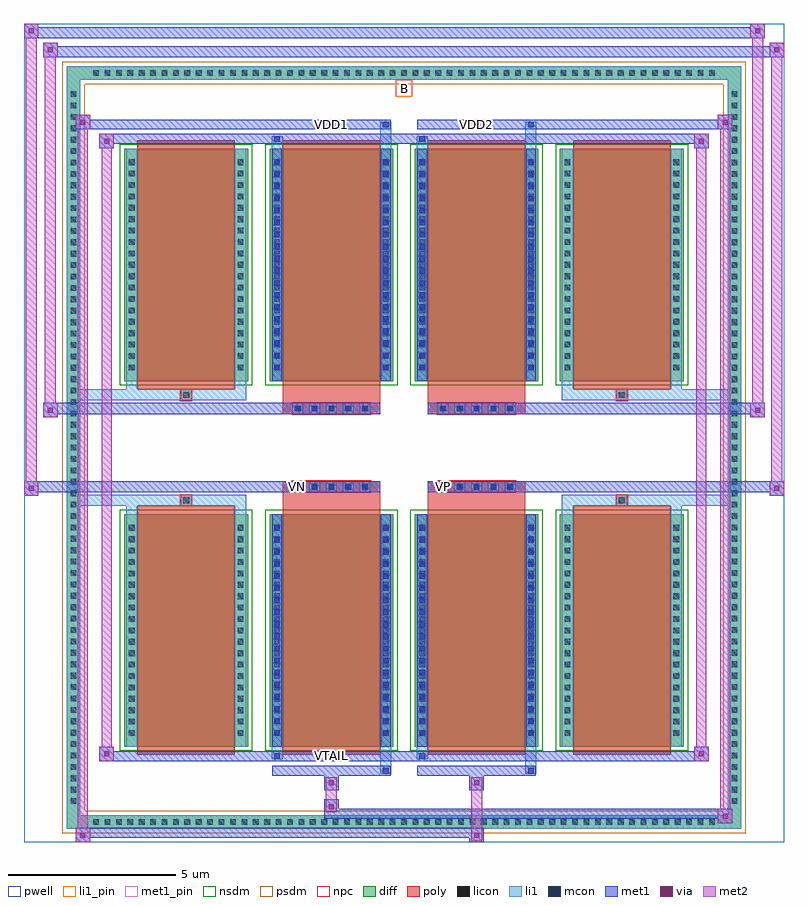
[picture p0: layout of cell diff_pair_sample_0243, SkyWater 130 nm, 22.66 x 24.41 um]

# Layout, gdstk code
import gdstk
lib = gdstk.Library(unit=1e-6, precision=5e-09)
def R(c, l, rs):  # rectangles x0, y0, x1, y1
    for r in rs: c.add(gdstk.rectangle(r[:2], r[2:], *l))
def A(c, l, x, y, w, h, nx, ny, dx, dy):  # array of equal rectangles
    R(c, l, [(x+i*dx, y+j*dy, x+i*dx+w, y+j*dy+h) for i in range(nx) for j in range(ny)])
def P(c, l, *ps):  # polygons
    for p in ps: c.add(gdstk.Polygon(p, *l))
pwell = (64, 44)
diff = (65, 20)
poly = (66, 20)
licon = (66, 44)
li1_pin = (67, 16)
li1 = (67, 20)
mcon = (67, 44)
met1_pin = (68, 16)
met1 = (68, 20)
via = (68, 44)
met2 = (69, 20)
nsdm = (93, 44)
psdm = (94, 20)
npc = (95, 20)

diff_pair_sample_0243 = lib.new_cell('diff_pair_sample_0243')
R(diff_pair_sample_0243, pwell, [(-11.33,-11.77,11.33,12.64), (-8.65,-9.96,-0.01,-0.8), (0.01,-9.96,8.65,-0.8), (-8.65,0.8,-0.01,9.96), (0.01,0.8,8.65,9.96)])
A(diff_pair_sample_0243, diff, -9.385, -11.37, 0.41, 0.41, 55, 2, 0.34, 22.33)
A(diff_pair_sample_0243, diff, -10.06, -10.745, 0.41, 0.41, 1, 63, 0, 0.34)
A(diff_pair_sample_0243, diff, 9.65, -10.745, 0.41, 0.41, 1, 63, 0, 0.34)
A(diff_pair_sample_0243, diff, -8.34, -8.915, 3.69, 6.93, 4, 2, 4.33, 10.9)
R(diff_pair_sample_0243, diff, [(-9.385,-11.37,9.385,-10.96), (-10.06,-10.745,-9.65,10.745), (9.65,-10.745,10.06,10.745), (-9.385,10.96,9.385,11.37)])
P(diff_pair_sample_0243, diff, [(10.06,11.37),(-10.06,11.37),(-10.06,-10.96),(-9.65,-10.96),(-9.65,10.96),(9.65,10.96),(9.65,-10.96),(-9.65,-10.96),(-10.06,-10.96),(-10.06,-11.37),(10.06,-11.37)])
A(diff_pair_sample_0243, poly, -7.95, -9.165, 2.91, 7.43, 4, 2, 4.33, 10.9)
A(diff_pair_sample_0243, poly, -3.33, -1.33, 0.33, 0.33, 5, 2, 0.5, 2.33)
A(diff_pair_sample_0243, poly, 1, -1.33, 0.33, 0.33, 5, 2, 0.5, 2.33)
R(diff_pair_sample_0243, poly, [(-6.66,-1.735,-6.33,-1.405), (-6.66,-1.735,-6.33,-1.405), (-3.62,-1.735,-0.71,-1.33), (0.71,-1.735,3.62,-1.33), (6.33,-1.735,6.66,-1.405), (6.33,-1.735,6.66,-1.405), (-3.62,-1.33,-0.71,-1), (0.71,-1.33,3.62,-1), (-3.62,1,-0.71,1.33), (0.71,1,3.62,1.33), (-3.62,1.33,-0.71,1.735), (0.71,1.33,3.62,1.735), (-6.66,1.405,-6.33,1.735), (-6.66,1.405,-6.33,1.735), (6.33,1.405,6.66,1.735), (6.33,1.405,6.66,1.735)])
A(diff_pair_sample_0243, licon, -9.265, -11.25, 0.17, 0.17, 55, 2, 0.34, 22.33)
A(diff_pair_sample_0243, licon, -9.94, -10.625, 0.17, 0.17, 1, 63, 0, 0.34)
A(diff_pair_sample_0243, licon, 9.77, -10.625, 0.17, 0.17, 1, 63, 0, 0.34)
A(diff_pair_sample_0243, licon, -8.2, -8.595, 0.17, 0.17, 1, 19, 0, 0.34)
A(diff_pair_sample_0243, licon, -4.96, -8.595, 0.17, 0.17, 1, 19, 0, 0.34)
A(diff_pair_sample_0243, licon, -3.87, -8.595, 0.17, 0.17, 1, 19, 0, 0.34)
A(diff_pair_sample_0243, licon, -0.63, -8.595, 0.17, 0.17, 1, 19, 0, 0.34)
A(diff_pair_sample_0243, licon, 0.46, -8.595, 0.17, 0.17, 1, 19, 0, 0.34)
A(diff_pair_sample_0243, licon, 3.7, -8.595, 0.17, 0.17, 1, 19, 0, 0.34)
A(diff_pair_sample_0243, licon, 4.79, -8.595, 0.17, 0.17, 1, 19, 0, 0.34)
A(diff_pair_sample_0243, licon, 8.03, -8.595, 0.17, 0.17, 1, 19, 0, 0.34)
A(diff_pair_sample_0243, licon, -3.25, -1.25, 0.17, 0.17, 5, 2, 0.5, 2.33)
A(diff_pair_sample_0243, licon, 1.08, -1.25, 0.17, 0.17, 5, 2, 0.5, 2.33)
A(diff_pair_sample_0243, licon, -8.2, 2.305, 0.17, 0.17, 1, 19, 0, 0.34)
A(diff_pair_sample_0243, licon, -4.96, 2.305, 0.17, 0.17, 1, 19, 0, 0.34)
A(diff_pair_sample_0243, licon, -3.87, 2.305, 0.17, 0.17, 1, 19, 0, 0.34)
A(diff_pair_sample_0243, licon, -0.63, 2.305, 0.17, 0.17, 1, 19, 0, 0.34)
A(diff_pair_sample_0243, licon, 0.46, 2.305, 0.17, 0.17, 1, 19, 0, 0.34)
A(diff_pair_sample_0243, licon, 3.7, 2.305, 0.17, 0.17, 1, 19, 0, 0.34)
A(diff_pair_sample_0243, licon, 4.79, 2.305, 0.17, 0.17, 1, 19, 0, 0.34)
A(diff_pair_sample_0243, licon, 8.03, 2.305, 0.17, 0.17, 1, 19, 0, 0.34)
R(diff_pair_sample_0243, licon, [(-6.58,-1.655,-6.41,-1.485), (6.41,-1.655,6.58,-1.485), (-6.58,1.485,-6.41,1.655), (6.41,1.485,6.58,1.655)])
R(diff_pair_sample_0243, li1_pin, [(-0.25,10.46,0.25,10.96)])
A(diff_pair_sample_0243, li1, -9.345, -11.33, 0.33, 0.33, 55, 2, 0.34, 22.33)
A(diff_pair_sample_0243, li1, -10.02, -10.705, 0.33, 0.33, 1, 63, 0, 0.34)
A(diff_pair_sample_0243, li1, 9.69, -10.705, 0.33, 0.33, 1, 63, 0, 0.34)
A(diff_pair_sample_0243, li1, -8.28, -8.675, 0.33, 0.33, 1, 19, 0, 0.34)
A(diff_pair_sample_0243, li1, -5.04, -8.675, 0.33, 0.33, 1, 19, 0, 0.34)
A(diff_pair_sample_0243, li1, -3.95, -8.675, 0.33, 0.33, 1, 19, 0, 0.34)
A(diff_pair_sample_0243, li1, -0.71, -8.675, 0.33, 0.33, 1, 19, 0, 0.34)
A(diff_pair_sample_0243, li1, 0.38, -8.675, 0.33, 0.33, 1, 19, 0, 0.34)
A(diff_pair_sample_0243, li1, 3.62, -8.675, 0.33, 0.33, 1, 19, 0, 0.34)
A(diff_pair_sample_0243, li1, 4.71, -8.675, 0.33, 0.33, 1, 19, 0, 0.34)
A(diff_pair_sample_0243, li1, 7.95, -8.675, 0.33, 0.33, 1, 19, 0, 0.34)
A(diff_pair_sample_0243, li1, -3.87, -8.595, 0.17, 0.17, 1, 18, 0, 0.36)
A(diff_pair_sample_0243, li1, -0.63, -8.595, 0.17, 0.17, 1, 18, 0, 0.36)
A(diff_pair_sample_0243, li1, 0.46, -8.595, 0.17, 0.17, 1, 18, 0, 0.36)
A(diff_pair_sample_0243, li1, 3.7, -8.595, 0.17, 0.17, 1, 18, 0, 0.36)
A(diff_pair_sample_0243, li1, -3.33, -1.33, 0.33, 0.33, 5, 2, 0.5, 2.33)
A(diff_pair_sample_0243, li1, 1, -1.33, 0.33, 0.33, 5, 2, 0.5, 2.33)
A(diff_pair_sample_0243, li1, -8.28, 2.225, 0.33, 0.33, 1, 19, 0, 0.34)
A(diff_pair_sample_0243, li1, -5.04, 2.225, 0.33, 0.33, 1, 19, 0, 0.34)
A(diff_pair_sample_0243, li1, -3.95, 2.225, 0.33, 0.33, 1, 19, 0, 0.34)
A(diff_pair_sample_0243, li1, -0.71, 2.225, 0.33, 0.33, 1, 19, 0, 0.34)
A(diff_pair_sample_0243, li1, 0.38, 2.225, 0.33, 0.33, 1, 19, 0, 0.34)
A(diff_pair_sample_0243, li1, 3.62, 2.225, 0.33, 0.33, 1, 19, 0, 0.34)
A(diff_pair_sample_0243, li1, 4.71, 2.225, 0.33, 0.33, 1, 19, 0, 0.34)
A(diff_pair_sample_0243, li1, 7.95, 2.225, 0.33, 0.33, 1, 19, 0, 0.34)
A(diff_pair_sample_0243, li1, -3.87, 2.305, 0.17, 0.17, 1, 18, 0, 0.36)
A(diff_pair_sample_0243, li1, -0.63, 2.305, 0.17, 0.17, 1, 18, 0, 0.36)
A(diff_pair_sample_0243, li1, 0.46, 2.305, 0.17, 0.17, 1, 18, 0, 0.36)
A(diff_pair_sample_0243, li1, 3.7, 2.305, 0.17, 0.17, 1, 18, 0, 0.36)
R(diff_pair_sample_0243, li1, [(-10.06,-11.37,-9.65,-10.96), (-10.06,-11.37,-9.65,-10.96), (-9.65,-11.37,9.65,-10.96), (9.65,-11.37,10.06,-10.96), (9.65,-11.37,10.06,-10.96), (-10.06,-10.96,-9.65,10.96), (9.65,-10.96,10.06,10.96), (-0.71,-9.72,-0.38,-8.915), (-0.63,-9.72,-0.46,-9.55), (3.62,-9.72,3.95,-8.915), (3.7,-9.72,3.87,-9.55), (-3.95,-9.29,-3.62,-8.915), (-3.87,-9.29,-3.7,-9.12), (0.38,-9.29,0.71,-8.915), (0.46,-9.29,0.63,-9.12), (-8.28,-8.915,-7.95,-1.985), (-5.04,-8.915,-4.71,-1.985), (-3.95,-8.915,-3.62,-1.985), (-0.71,-8.915,-0.38,-1.985), (0.38,-8.915,0.71,-1.985), (3.62,-8.915,3.95,-1.985), (4.71,-8.915,5.04,-1.985), (7.95,-8.915,8.28,-1.985), (-3.87,-8.595,-3.7,-2.305), (-0.63,-8.595,-0.46,-2.305), (0.46,-8.595,0.63,-2.305), (3.7,-8.595,3.87,-2.305), (-8.28,-1.985,-7.95,-1.405), (-5.04,-1.985,-4.71,-1.405), (4.71,-1.985,5.04,-1.405), (7.95,-1.985,8.28,-1.405), (-10.06,-1.735,-6.66,-1.405), (-8.28,-1.735,-6.66,-1.405), (-6.66,-1.735,-6.33,-1.405), (-6.33,-1.735,-4.71,-1.405), (4.71,-1.735,6.33,-1.405), (6.33,-1.735,6.66,-1.405), (6.33,-1.735,10.06,-1.405), (6.66,-1.735,8.28,-1.405), (-10.06,1.405,-6.66,1.735), (-8.28,1.405,-6.66,1.735), (-8.28,1.405,-7.95,1.985), (-6.66,1.405,-6.33,1.735), (-6.33,1.405,-4.71,1.735), (-5.04,1.405,-4.71,1.985), (4.71,1.405,6.33,1.735), (4.71,1.405,5.04,1.985), (6.33,1.405,6.66,1.735), (6.33,1.405,10.06,1.735), (6.66,1.405,8.28,1.735), (7.95,1.405,8.28,1.985), (-8.28,1.985,-7.95,8.915), (-5.04,1.985,-4.71,8.915), (-3.95,1.985,-3.62,8.915), (-0.71,1.985,-0.38,8.915), (0.38,1.985,0.71,8.915), (3.62,1.985,3.95,8.915), (4.71,1.985,5.04,8.915), (7.95,1.985,8.28,8.915), (-3.87,2.305,-3.7,8.595), (-0.63,2.305,-0.46,8.595), (0.46,2.305,0.63,8.595), (3.7,2.305,3.87,8.595), (-3.95,8.915,-3.62,9.29), (-0.71,8.915,-0.38,9.72), (0.38,8.915,0.71,9.29), (3.62,8.915,3.95,9.72), (-3.87,9.12,-3.7,9.29), (0.46,9.12,0.63,9.29), (-0.63,9.55,-0.46,9.72), (3.7,9.55,3.87,9.72), (-10.06,10.96,-9.65,11.37), (-10.06,10.96,-9.65,11.37), (-9.65,10.96,9.65,11.37), (9.65,10.96,10.06,11.37), (9.65,10.96,10.06,11.37)])
A(diff_pair_sample_0243, mcon, -3.87, -8.595, 0.17, 0.17, 1, 18, 0, 0.36)
A(diff_pair_sample_0243, mcon, -0.63, -8.595, 0.17, 0.17, 1, 18, 0, 0.36)
A(diff_pair_sample_0243, mcon, 0.46, -8.595, 0.17, 0.17, 1, 18, 0, 0.36)
A(diff_pair_sample_0243, mcon, 3.7, -8.595, 0.17, 0.17, 1, 18, 0, 0.36)
A(diff_pair_sample_0243, mcon, -3.25, -1.25, 0.17, 0.17, 5, 2, 0.5, 2.33)
A(diff_pair_sample_0243, mcon, 1.08, -1.25, 0.17, 0.17, 5, 2, 0.5, 2.33)
A(diff_pair_sample_0243, mcon, -3.87, 2.305, 0.17, 0.17, 1, 18, 0, 0.36)
A(diff_pair_sample_0243, mcon, -0.63, 2.305, 0.17, 0.17, 1, 18, 0, 0.36)
A(diff_pair_sample_0243, mcon, 0.46, 2.305, 0.17, 0.17, 1, 18, 0, 0.36)
A(diff_pair_sample_0243, mcon, 3.7, 2.305, 0.17, 0.17, 1, 18, 0, 0.36)
R(diff_pair_sample_0243, mcon, [(-0.63,-9.72,-0.46,-9.55), (3.7,-9.72,3.87,-9.55), (-3.87,-9.29,-3.7,-9.12), (0.46,-9.29,0.63,-9.12), (-3.87,9.12,-3.7,9.29), (0.46,9.12,0.63,9.29), (-0.63,9.55,-0.46,9.72), (3.7,9.55,3.87,9.72)])
R(diff_pair_sample_0243, met1_pin, [(-2.3,-9.33,-2.03,-9.06), (-3.3,-1.29,-3.03,-1.02), (1.03,-1.29,1.3,-1.02), (-2.3,9.51,-2.03,9.78), (2.03,9.51,2.3,9.78)])
A(diff_pair_sample_0243, met1, -3.93, -8.655, 0.29, 0.29, 1, 18, 0, 0.36)
A(diff_pair_sample_0243, met1, -0.69, -8.655, 0.29, 0.29, 1, 18, 0, 0.36)
A(diff_pair_sample_0243, met1, 0.4, -8.655, 0.29, 0.29, 1, 18, 0, 0.36)
A(diff_pair_sample_0243, met1, 3.64, -8.655, 0.29, 0.29, 1, 18, 0, 0.36)
A(diff_pair_sample_0243, met1, -3.31, -1.31, 0.29, 0.29, 5, 2, 0.5, 2.33)
A(diff_pair_sample_0243, met1, 1.02, -1.31, 0.29, 0.29, 5, 2, 0.5, 2.33)
A(diff_pair_sample_0243, met1, -3.93, 2.245, 0.29, 0.29, 1, 18, 0, 0.36)
A(diff_pair_sample_0243, met1, -0.69, 2.245, 0.29, 0.29, 1, 18, 0, 0.36)
A(diff_pair_sample_0243, met1, 0.4, 2.245, 0.29, 0.29, 1, 18, 0, 0.36)
A(diff_pair_sample_0243, met1, 3.64, 2.245, 0.29, 0.29, 1, 18, 0, 0.36)
R(diff_pair_sample_0243, met1, [(-9.79,-11.77,-9.36,-11.34), (1.95,-11.77,2.38,-11.34), (-9.79,-11.63,2.38,-11.34), (9.36,-11.2,9.79,-10.77), (-2.38,-11.06,9.79,-10.77), (-2.38,-10.92,-1.95,-10.49), (-2.38,-10.21,-1.95,-9.78), (1.95,-10.21,2.38,-9.78), (-3.93,-9.78,-0.4,-9.49), (-0.69,-9.78,-0.4,-9.49), (0.4,-9.78,3.93,-9.49), (3.64,-9.78,3.93,-9.49), (-9.08,-9.35,-8.65,-8.92), (-9.08,-9.35,-3.93,-9.06), (-3.93,-9.35,-3.64,-9.06), (-3.93,-9.35,-0.4,-9.06), (-0.4,-9.35,0.4,-9.06), (0.4,-9.35,0.69,-9.06), (0.4,-9.35,3.93,-9.06), (3.93,-9.35,9.08,-9.06), (8.65,-9.35,9.08,-8.92), (-3.93,-8.915,-3.64,-1.985), (-0.69,-8.915,-0.4,-1.985), (0.4,-8.915,0.69,-1.985), (3.64,-8.915,3.93,-1.985), (-11.33,-1.43,-10.9,-1), (10.9,-1.43,11.33,-1), (-11.33,-1.33,-0.71,-1), (-3.62,-1.33,-0.71,-1), (0.71,-1.33,3.62,-1), (0.71,-1.33,11.33,-1), (-10.76,0.9,-10.33,1.33), (10.33,0.9,10.76,1.33), (-10.76,1,-3.62,1.33), (-3.62,1,-0.71,1.33), (0.71,1,3.62,1.33), (3.62,1,10.76,1.33), (-3.93,1.985,-3.64,8.915), (-0.69,1.985,-0.4,8.915), (0.4,1.985,0.69,8.915), (3.64,1.985,3.93,8.915), (-9.08,8.92,-8.65,9.35), (8.65,8.92,9.08,9.35), (-9.08,9.06,-3.93,9.35), (-3.93,9.06,-3.64,9.35), (-3.93,9.06,-0.4,9.35), (-0.4,9.06,0.4,9.35), (0.4,9.06,0.69,9.35), (0.4,9.06,3.93,9.35), (3.93,9.06,9.08,9.35), (-9.79,9.49,-9.36,9.92), (-9.79,9.49,-3.93,9.78), (-3.93,9.49,-0.4,9.78), (-0.69,9.49,-0.4,9.78), (0.4,9.49,3.93,9.78), (3.64,9.49,3.93,9.78), (3.93,9.49,9.79,9.78), (9.36,9.49,9.79,9.92), (-10.76,11.64,-10.33,12.07), (-10.76,11.64,-8.65,11.97), (-8.65,11.64,8.65,11.97), (8.65,11.64,11.33,11.97), (10.9,11.64,11.33,12.07), (-11.33,12.21,-10.9,12.64), (-11.33,12.21,-8.65,12.54), (-8.65,12.21,8.65,12.54), (8.65,12.21,10.76,12.54), (10.33,12.21,10.76,12.64)])
R(diff_pair_sample_0243, via, [(-9.65,-11.63,-9.5,-11.48), (2.09,-11.63,2.24,-11.48), (9.5,-11.06,9.65,-10.91), (-2.24,-10.78,-2.09,-10.63), (-2.24,-10.07,-2.09,-9.92), (2.09,-10.07,2.24,-9.92), (-8.94,-9.21,-8.79,-9.06), (8.79,-9.21,8.94,-9.06), (-11.19,-1.29,-11.04,-1.14), (11.04,-1.29,11.19,-1.14), (-10.62,1.04,-10.47,1.19), (10.47,1.04,10.62,1.19), (-8.94,9.06,-8.79,9.21), (8.79,9.06,8.94,9.21), (-9.65,9.63,-9.5,9.78), (9.5,9.63,9.65,9.78), (-10.62,11.78,-10.47,11.93), (11.04,11.78,11.19,11.93), (-11.19,12.35,-11.04,12.5), (10.47,12.35,10.62,12.5)])
R(diff_pair_sample_0243, met2, [(-9.79,-11.77,-9.36,-11.34), (-9.72,-11.77,-9.43,9.92), (-9.43,-11.77,-9.36,-11.34), (-9.74,-11.72,-9.41,-11.39), (2,-11.72,2.33,-11.39), (2,-11.39,2.33,-10.16), (9.36,-11.2,9.79,-10.77), (9.43,-11.2,9.72,9.92), (9.72,-11.2,9.79,-10.77), (9.41,-11.15,9.74,-10.82), (-2.33,-10.87,-2,-10.54), (-2.33,-10.54,-2,-10.16), (-2.33,-10.16,-2,-9.83), (2,-10.16,2.33,-9.83), (-9.08,-9.35,-8.65,-8.92), (-9.01,-9.35,-8.72,9.35), (-8.72,-9.35,-8.65,-8.92), (8.65,-9.35,9.08,-8.92), (8.72,-9.35,9.01,9.35), (9.01,-9.35,9.08,-8.92), (-9.03,-9.3,-8.7,-8.97), (8.7,-9.3,9.03,-8.97), (-11.33,-1.43,-10.9,-1), (-11.28,-1.43,-10.95,12.64), (-10.95,-1.43,-10.9,-1), (10.9,-1.43,11.33,-1), (10.95,-1.43,11.28,12.07), (11.28,-1.43,11.33,-1), (-11.28,-1.38,-10.95,-1.05), (10.95,-1.38,11.28,-1.05), (-10.76,0.9,-10.33,1.33), (-10.71,0.9,-10.38,12.07), (-10.38,0.9,-10.33,1.33), (10.33,0.9,10.76,1.33), (10.38,0.9,10.71,12.64), (10.71,0.9,10.76,1.33), (-10.71,0.95,-10.38,1.28), (10.38,0.95,10.71,1.28), (-9.08,8.92,-8.65,9.35), (-8.72,8.92,-8.65,9.35), (8.65,8.92,9.08,9.35), (9.01,8.92,9.08,9.35), (-9.03,8.97,-8.7,9.3), (8.7,8.97,9.03,9.3), (-9.79,9.49,-9.36,9.92), (-9.43,9.49,-9.36,9.92), (9.36,9.49,9.79,9.92), (9.72,9.49,9.79,9.92), (-9.74,9.54,-9.41,9.87), (9.41,9.54,9.74,9.87), (-10.76,11.64,-10.33,12.07), (-10.38,11.64,-10.33,12.07), (10.9,11.64,11.33,12.07), (11.28,11.64,11.33,12.07), (-10.71,11.69,-10.38,12.02), (10.95,11.69,11.28,12.02), (-11.33,12.21,-10.9,12.64), (-10.95,12.21,-10.9,12.64), (10.33,12.21,10.76,12.64), (10.71,12.21,10.76,12.64), (-11.28,12.26,-10.95,12.59), (10.38,12.26,10.71,12.59)])
A(diff_pair_sample_0243, nsdm, -8.47, -9.045, 3.95, 7.19, 4, 2, 4.33, 10.9)
P(diff_pair_sample_0243, psdm, [(10.19,11.5),(-10.19,11.5),(-10.19,-10.83),(-9.52,-10.83),(-9.52,10.83),(9.52,10.83),(9.52,-10.83),(-9.52,-10.83),(-10.19,-10.83),(-10.19,-11.5),(10.19,-11.5)])
A(diff_pair_sample_0243, npc, -3.35, -1.35, 0.37, 0.37, 5, 2, 0.5, 2.33)
A(diff_pair_sample_0243, npc, 0.98, -1.35, 0.37, 0.37, 5, 2, 0.5, 2.33)
R(diff_pair_sample_0243, npc, [(-6.68,-1.755,-6.31,-1.385), (6.31,-1.755,6.68,-1.385), (-3.35,-1.35,-2.48,-0.98), (-3.35,-1.35,-2.48,-0.98), (-2.85,-1.35,-1.98,-0.98), (-2.85,-1.35,-1.98,-0.98), (-2.35,-1.35,-1.48,-0.98), (-2.35,-1.35,-1.48,-0.98), (-1.85,-1.35,-0.98,-0.98), (-1.85,-1.35,-0.98,-0.98), (0.98,-1.35,1.85,-0.98), (0.98,-1.35,1.85,-0.98), (1.48,-1.35,2.35,-0.98), (1.48,-1.35,2.35,-0.98), (1.98,-1.35,2.85,-0.98), (1.98,-1.35,2.85,-0.98), (2.48,-1.35,3.35,-0.98), (2.48,-1.35,3.35,-0.98), (-3.35,0.98,-2.48,1.35), (-3.35,0.98,-2.48,1.35), (-2.85,0.98,-1.98,1.35), (-2.85,0.98,-1.98,1.35), (-2.35,0.98,-1.48,1.35), (-2.35,0.98,-1.48,1.35), (-1.85,0.98,-0.98,1.35), (-1.85,0.98,-0.98,1.35), (0.98,0.98,1.85,1.35), (0.98,0.98,1.85,1.35), (1.48,0.98,2.35,1.35), (1.48,0.98,2.35,1.35), (1.98,0.98,2.85,1.35), (1.98,0.98,2.85,1.35), (2.48,0.98,3.35,1.35), (2.48,0.98,3.35,1.35), (-6.68,1.385,-6.31,1.755), (6.31,1.385,6.68,1.755)])
diff_pair_sample_0243.add(gdstk.Label('VTAIL', (-2.165,-9.195), layer=68, texttype=5))
diff_pair_sample_0243.add(gdstk.Label('VN', (-3.165,-1.155), layer=68, texttype=5))
diff_pair_sample_0243.add(gdstk.Label('VP', (1.165,-1.155), layer=68, texttype=5))
diff_pair_sample_0243.add(gdstk.Label('B', (0,10.71), layer=67, texttype=5))
diff_pair_sample_0243.add(gdstk.Label('VDD2', (2.165,9.645), layer=68, texttype=5))
diff_pair_sample_0243.add(gdstk.Label('VDD1', (-2.165,9.645), layer=68, texttype=5))

lib.write_gds('diff_pair_sample_0243.gds')
